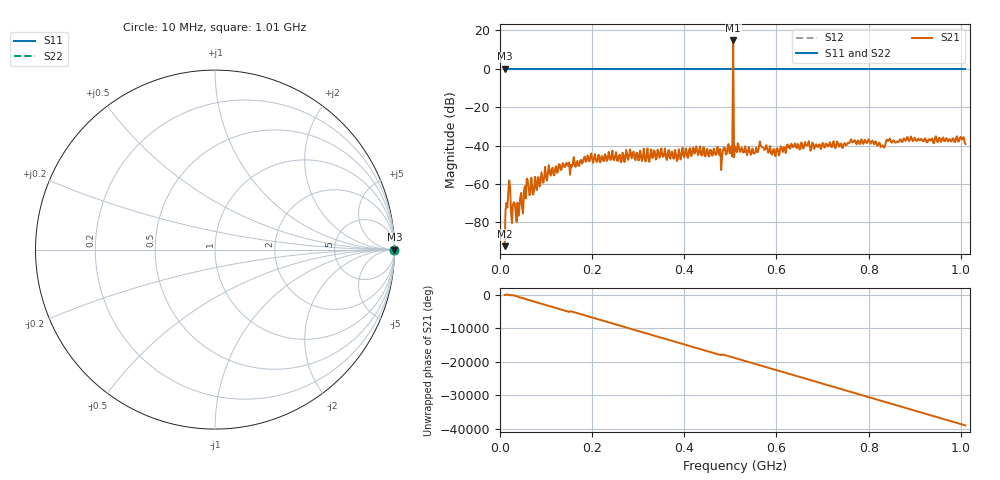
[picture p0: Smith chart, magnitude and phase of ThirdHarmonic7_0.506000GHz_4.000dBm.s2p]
! 8/17/2025 2:36:43 PM
! C:\ANRITSUVNA\TEMP\TEMP.S2P
! CHANNEL.1
! TR.MEASUREMENT
! RAW.DATA
! RF.CORRECTION.OFF
! AVERAGING.OFF
! IF.BANDWIDTH: 5KHZ
! SWEEPTYPE:  FREQ.SWEEP(Linear)
! Reference Plane Port Info
! PORT:  PORT1  PORT2
! DISTANCE:  0  m  0  m
! TIME:  0  s  0  s
! PHASE.OFFSET:  0  deg.  0  deg.
! LOSS:  0  dB  0  dB
! REF.LOSS:  0  dB  0  dB
! REF.FREQ:  0  Hz  0  Hz
! Power Info
! POWER:  -20  dBm  -20  dBm
! EFF.POWER:  -20  dBm  -20  dBm
! SOURCE.ATTEN:  0  dB  0  dB
! TEST.ATTEN:  0  dB  0  dB
# GHZ S RI R 50.0
! FREQ.GHZ  S11RE  S11IM  S21RE  S21IM  S12RE  S12IM  S22RE  S22IM
!; PortSelection: Port_12
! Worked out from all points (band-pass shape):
!   501 points, 10 MHz to 1.01 GHz, reference 50 ohm
!   highest |S21| = 14.77 dB at 506 MHz (marker M1); lowest = -92.5 dB at 10 MHz (marker M2)
!   |S21| within 3 dB of the highest: 505.9008 MHz to 506.0986 MHz (197.8 kHz wide, 0.0391 % of centre)
!   lowest |S11| = 0.0 dB at 10 MHz (marker M3)
!   |S11| at or under -10 dB: nowhere
!   |S22| runs from 0.0 to 0.0 dB; largest |S21 - S12| = 5.4
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0.01  1 0  -1.2e-05 -2.06e-05  1 0  1 0
0.018  1 0  0.000167 -0.000589  1 0  1 0
0.028  1 0  -0.000271 -8.36e-05  1 0  1 0
0.038  1 0  -0.000261 0.000192  1 0  1 0
0.042  1 0  0.000158 -0.000161  1 0  1 0
0.052  1 0  0.000376 -0.000507  1 0  1 0
0.058  1 0  0.00137 0.000118  1 0  1 0
0.068  1 0  0.00136 -0.000512  1 0  1 0
0.11  1 0  0.000766 0.00146  1 0  1 0
0.178  1 0  -0.00325 -0.001  1 0  1 0
0.344  1 0  0.00673 -0.00181  1 0  1 0
0.478  1 0  0.00532 0.00607  1 0  1 0
0.5  1 0  -0.00253 -0.00575  1 0  1 0
0.502  1 0  -0.00892 0.00331  1 0  1 0
0.506  1 0  1.103 5.365  1 0  1 0
0.51  1 0  -0.00928 -0.00208  1 0  1 0
0.512  1 0  -0.0016 0.00755  1 0  1 0
0.678  1 0  0.00557 -0.0106  1 0  1 0
0.766  1 0  0.0121 0.00062  1 0  1 0
0.83  1 0  0.00686 -0.00752  1 0  1 0
0.844  1 0  -0.00675 0.0125  1 0  1 0
1.01  1 0  0.00079 -0.011  1 0  1 0
